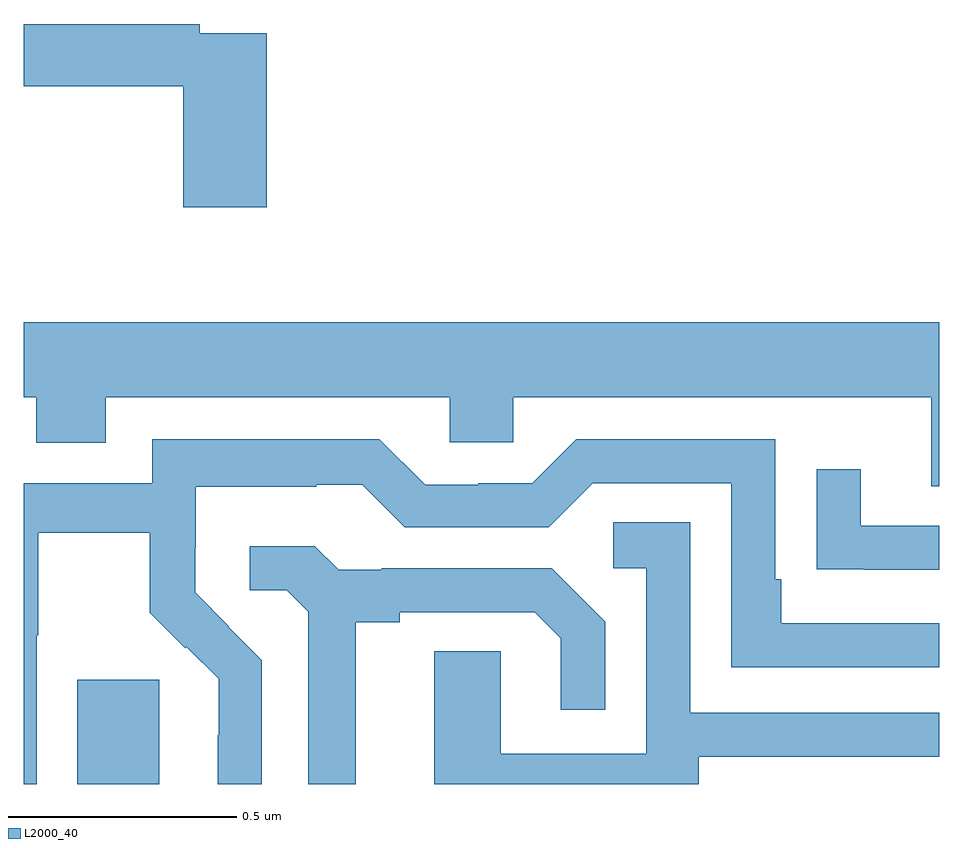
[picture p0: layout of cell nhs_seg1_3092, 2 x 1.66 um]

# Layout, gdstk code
import gdstk
lib = gdstk.Library(unit=1e-6, precision=1e-09)
def R(c, l, rs):  # rectangles x0, y0, x1, y1
    for r in rs: c.add(gdstk.rectangle(r[:2], r[2:], *l))
def P(c, l, *ps):  # polygons
    for p in ps: c.add(gdstk.Polygon(p, *l))
L2000_40 = (2000, 40)

nhs_seg1_3092 = lib.new_cell('nhs_seg1_3092')
R(nhs_seg1_3092, L2000_40, [(149.117,572.199,149.296,572.427)])
P(nhs_seg1_3092, L2000_40, [(149.531,573.84),(149.384,573.84),(149.384,573.86),(149,573.86),(149,573.724),(149.348,573.724),(149.348,573.459),(149.531,573.459)],
  [(151,573.208),(149,573.208),(149,573.044),(149.027,573.044),(149.027,572.945),(149.179,572.945),(149.179,573.044),(149.931,573.044),(149.931,572.946),(150.069,572.946),(150.069,573.044),(150.983,573.044),(150.983,572.85),(151,572.85)],
  [(149.028,572.524),(149.031,572.524),(149.031,572.748),(149.275,572.748),(149.275,572.573),(149.352,572.496),(149.355,572.499),(149.426,572.429),(149.426,572.306),(149.424,572.306),(149.424,572.199),(149.52,572.199),(149.52,572.47),(149.447,572.543),(149.448,572.544),(149.374,572.618),(149.374,572.715),(149.376,572.715),(149.376,572.849),(149.639,572.849),(149.639,572.853),(149.739,572.853),(149.832,572.76),(150.147,572.76),(150.243,572.856),(150.546,572.856),(150.546,572.454),(151,572.454),(151,572.55),(150.655,572.55),(150.655,572.647),(150.642,572.647),(150.642,572.952),(150.207,572.952),(150.111,572.856),(149.993,572.856),(149.993,572.853),(149.877,572.853),(149.777,572.953),(149.28,572.953),(149.28,572.856),(149,572.856),(149,572.199),(149.028,572.199)],
  [(151,572.763),(150.829,572.763),(150.829,572.887),(150.733,572.887),(150.733,572.668),(150.835,572.668),(150.835,572.667),(151,572.667)],
  [(150.475,572.259),(151,572.259),(151,572.355),(150.456,572.355),(150.456,572.771),(150.288,572.771),(150.288,572.67),(150.36,572.67),(150.36,572.265),(150.042,572.265),(150.042,572.489),(149.897,572.489),(149.897,572.199),(150.475,572.199)],
  [(149.725,572.552),(149.821,572.552),(149.821,572.574),(150.116,572.574),(150.173,572.517),(150.173,572.361),(150.27,572.361),(150.27,572.554),(150.154,572.67),(149.782,572.67),(149.782,572.667),(149.688,572.667),(149.636,572.719),(149.493,572.719),(149.493,572.622),(149.574,572.622),(149.621,572.575),(149.621,572.199),(149.725,572.199)])

lib.write_gds('nhs_seg1_3092.gds')
